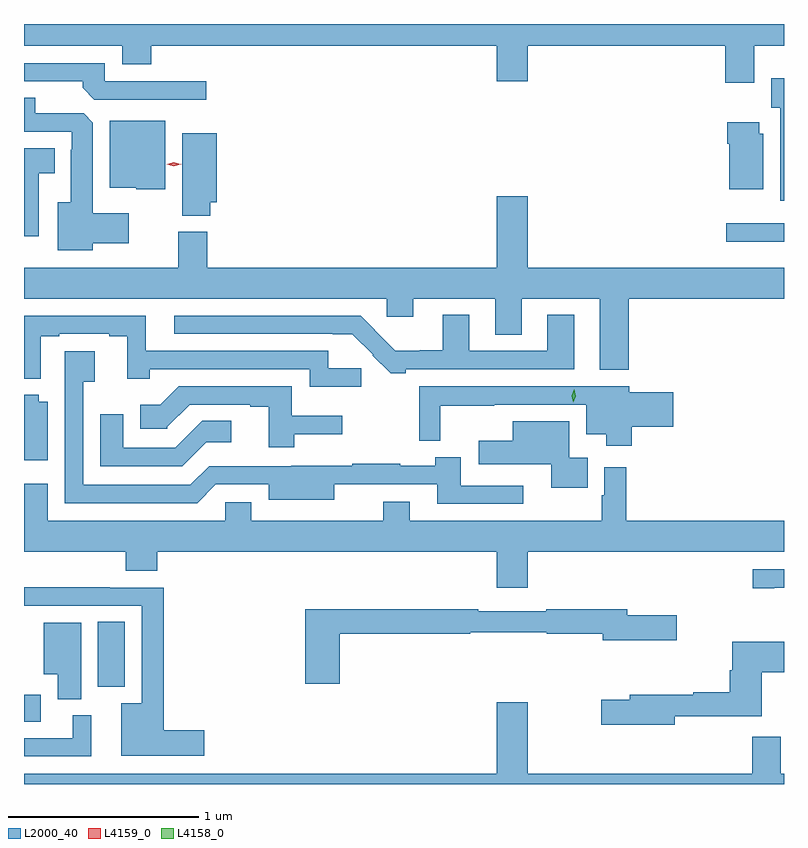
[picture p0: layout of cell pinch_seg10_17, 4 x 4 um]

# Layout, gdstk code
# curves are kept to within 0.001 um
import gdstk
lib = gdstk.Library(unit=1e-6, precision=1e-09)
def R(c, l, rs):  # rectangles x0, y0, x1, y1
    for r in rs: c.add(gdstk.rectangle(r[:2], r[2:], *l))
def P(c, l, *ps):  # polygons
    for p in ps: c.add(gdstk.Polygon(p, *l))
L2000_40 = (2000, 40)
L4158_0 = (4158, 0)
L4159_0 = (4159, 0)

pinch_seg10_17 = lib.new_cell('pinch_seg10_17')
R(pinch_seg10_17, L2000_40, [(953.728,1263.457,953.815,1263.601), (954.116,1263.641,954.259,1263.983), (957.423,1265.984,957.728,1266.081)])
P(pinch_seg10_17, L2000_40, [(957.571,1267.016),(957.728,1267.016),(957.728,1267.13),(953.728,1267.13),(953.728,1267.016),(954.245,1267.016),(954.245,1266.917),(954.398,1266.917),(954.398,1267.016),(956.216,1267.016),(956.216,1266.828),(956.38,1266.828),(956.38,1267.016),(957.419,1267.016),(957.419,1266.822),(957.571,1266.822)],
  [(954.688,1266.828),(954.153,1266.828),(954.153,1266.924),(953.728,1266.924),(953.728,1266.828),(954.038,1266.828),(954.038,1266.794),(954.099,1266.732),(954.688,1266.732)],
  [(957.728,1266.844),(957.662,1266.844),(957.662,1266.69),(957.707,1266.69),(957.707,1266.201),(957.728,1266.201)],
  [(954.091,1265.975),(954.28,1265.975),(954.28,1266.133),(954.091,1266.133),(954.091,1266.611),(954.042,1266.66),(953.788,1266.66),(953.788,1266.743),(953.728,1266.743),(953.728,1266.564),(953.979,1266.564),(953.979,1266.467),(953.975,1266.467),(953.975,1266.193),(953.906,1266.193),(953.906,1265.939),(954.091,1265.939)],
  [(954.472,1266.622),(954.179,1266.622),(954.179,1266.269),(954.318,1266.269),(954.318,1266.26),(954.472,1266.26)],
  [(957.619,1266.552),(957.598,1266.552),(957.598,1266.613),(957.428,1266.613),(957.428,1266.5),(957.44,1266.5),(957.44,1266.26),(957.619,1266.26)],
  [(954.707,1266.191),(954.742,1266.191),(954.742,1266.556),(954.56,1266.556),(954.56,1266.121),(954.707,1266.121)],
  [(953.806,1266.344),(953.89,1266.344),(953.89,1266.475),(953.728,1266.475),(953.728,1266.012),(953.806,1266.012)],
  [(956.912,1265.684),(957.728,1265.684),(957.728,1265.848),(956.38,1265.848),(956.38,1266.223),(956.216,1266.223),(956.216,1265.848),(954.692,1265.848),(954.692,1266.036),(954.539,1266.036),(954.539,1265.848),(953.728,1265.848),(953.728,1265.684),(955.638,1265.684),(955.638,1265.589),(955.777,1265.589),(955.777,1265.684),(956.207,1265.684),(956.207,1265.494),(956.347,1265.494),(956.347,1265.684),(956.759,1265.684),(956.759,1265.309),(956.912,1265.309)],
  [(955.738,1265.313),(956.623,1265.313),(956.623,1265.599),(956.483,1265.599),(956.483,1265.409),(956.071,1265.409),(956.071,1265.599),(955.931,1265.599),(955.931,1265.414),(955.811,1265.414),(955.811,1265.41),(955.682,1265.41),(955.572,1265.52),(955.574,1265.522),(955.501,1265.595),(954.519,1265.595),(954.519,1265.499),(955.456,1265.498),(955.565,1265.39),(955.562,1265.387),(955.657,1265.291),(955.738,1265.291)],
  [(955.504,1265.319),(955.33,1265.319),(955.33,1265.409),(954.37,1265.409),(954.37,1265.595),(953.728,1265.595),(953.728,1265.264),(953.817,1265.264),(953.817,1265.487),(953.914,1265.487),(953.914,1265.499),(954.176,1265.499),(954.176,1265.487),(954.272,1265.487),(954.272,1265.262),(954.389,1265.262),(954.389,1265.313),(955.233,1265.313),(955.233,1265.222),(955.504,1265.222)],
  [(956.356,1264.701),(956.026,1264.701),(956.026,1264.851),(955.892,1264.851),(955.892,1264.804),(955.708,1264.804),(955.708,1264.816),(955.456,1264.816),(955.456,1264.804),(954.702,1264.803),(954.603,1264.704),(954.039,1264.704),(954.039,1265.246),(954.1,1265.246),(954.1,1265.407),(953.943,1265.407),(953.943,1264.608),(954.639,1264.608),(954.738,1264.707),(955.016,1264.707),(955.016,1264.625),(955.36,1264.625),(955.36,1264.707),(955.904,1264.707),(955.904,1264.605),(956.356,1264.605)],
  [(956.927,1265.009),(957.145,1265.009),(957.145,1265.192),(956.914,1265.192),(956.914,1265.223),(955.809,1265.223),(955.809,1264.936),(955.919,1264.936),(955.919,1265.122),(956.204,1265.122),(956.204,1265.127),(956.687,1265.127),(956.687,1264.97),(956.792,1264.97),(956.792,1264.91),(956.927,1264.91)],
  [(955.151,1264.97),(955.402,1264.97),(955.402,1265.068),(955.138,1265.068),(955.138,1265.223),(954.542,1265.223),(954.446,1265.127),(954.339,1265.127),(954.339,1265.001),(954.483,1265.001),(954.483,1265.01),(954.6,1265.127),(954.92,1265.127),(954.92,1265.115),(955.016,1265.115),(955.016,1264.902),(955.151,1264.902)],
  [(953.854,1265.143),(953.806,1265.143),(953.806,1265.179),(953.728,1265.179),(953.728,1264.835),(953.854,1264.835)],
  [(954.688,1264.929),(954.82,1264.929),(954.82,1265.042),(954.666,1265.042),(954.523,1264.899),(954.25,1264.899),(954.25,1265.077),(954.128,1265.077),(954.128,1264.803),(954.562,1264.803)],
  [(956.696,1264.846),(956.598,1264.846),(956.598,1265.038),(956.3,1265.038),(956.3,1264.936),(956.121,1264.936),(956.121,1264.814),(956.502,1264.814),(956.502,1264.688),(956.696,1264.688)],
  [(956.38,1264.352),(957.728,1264.352),(957.728,1264.516),(956.897,1264.516),(956.897,1264.798),(956.781,1264.798),(956.781,1264.649),(956.769,1264.649),(956.769,1264.516),(955.759,1264.516),(955.759,1264.615),(955.619,1264.615),(955.619,1264.516),(954.925,1264.516),(954.925,1264.614),(954.786,1264.614),(954.786,1264.516),(953.854,1264.516),(953.854,1264.711),(953.728,1264.711),(953.728,1264.352),(954.263,1264.352),(954.263,1264.253),(954.428,1264.253),(954.428,1264.352),(956.216,1264.352),(956.216,1264.164),(956.38,1264.164)],
  [(957.676,1264.164),(957.728,1264.164),(957.728,1264.26),(957.564,1264.26),(957.564,1264.159),(957.676,1264.159)],
  [(954.676,1263.413),(954.464,1263.413),(954.464,1264.164),(954.179,1264.164),(954.179,1264.166),(953.728,1264.166),(953.728,1264.068),(954.348,1264.068),(954.348,1263.556),(954.239,1263.556),(954.239,1263.278),(954.676,1263.278)],
  [(955.391,1263.922),(956.076,1263.922),(956.076,1263.93),(956.478,1263.93),(956.478,1263.922),(956.774,1263.922),(956.774,1263.887),(957.163,1263.887),(957.163,1264.017),(956.902,1264.017),(956.902,1264.051),(956.476,1264.051),(956.476,1264.038),(956.12,1264.038),(956.12,1264.051),(955.208,1264.051),(955.208,1263.657),(955.391,1263.657)],
  [(954.028,1263.979),(953.831,1263.979),(953.831,1263.707),(953.906,1263.707),(953.906,1263.577),(954.028,1263.577)],
  [(957.154,1263.486),(957.61,1263.486),(957.61,1263.718),(957.728,1263.718),(957.728,1263.88),(957.455,1263.88),(957.455,1263.729),(957.443,1263.729),(957.443,1263.614),(957.25,1263.614),(957.25,1263.599),(956.915,1263.599),(956.915,1263.573),(956.766,1263.573),(956.766,1263.443),(957.154,1263.443)],
  [(957.728,1263.184),(957.712,1263.184),(957.712,1263.379),(957.56,1263.379),(957.56,1263.184),(956.38,1263.184),(956.38,1263.559),(956.216,1263.559),(956.216,1263.184),(953.728,1263.184),(953.728,1263.13),(957.728,1263.13)],
  [(954.082,1263.492),(953.984,1263.492),(953.984,1263.372),(953.728,1263.372),(953.728,1263.276),(954.082,1263.276)])
P(pinch_seg10_17, L4158_0, [(956.619,1265.138),(956.619,1265.138),(956.612,1265.174),(956.624,1265.207),(956.624,1265.208),(956.624,1265.207),(956.632,1265.172),(956.619,1265.138)])
P(pinch_seg10_17, L4159_0, [(954.517,1266.382),(954.479,1266.392),(954.479,1266.392),(954.479,1266.392),(954.517,1266.402),(954.554,1266.392),(954.555,1266.391),(954.554,1266.391)])

lib.write_gds('pinch_seg10_17.gds')
